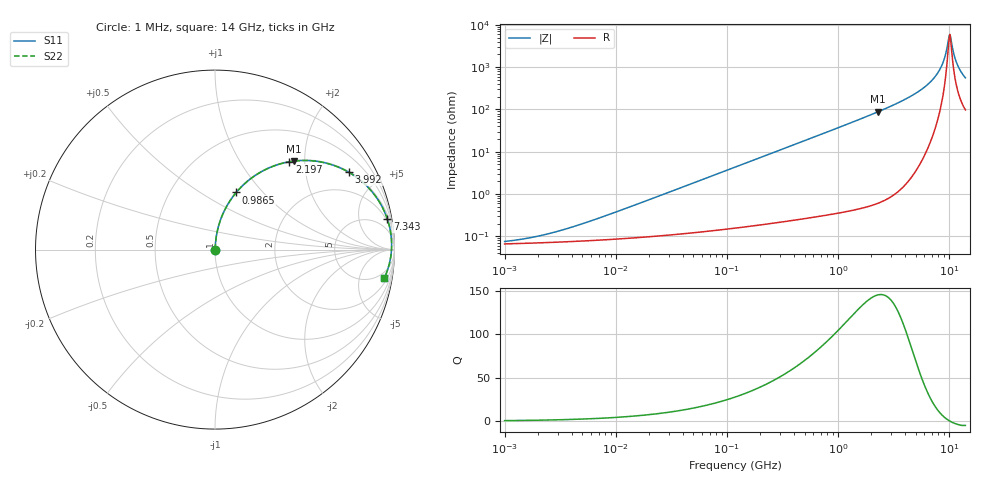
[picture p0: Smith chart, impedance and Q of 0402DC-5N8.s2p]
# MHz  S  MA  R  50
!Freq  MagS11  AngS11  MagS21  AngS21  MagS12  AngS12  MagS22  AngS22
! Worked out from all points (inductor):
!   801 points, 1 MHz to 14 GHz, reference 50 ohm
!   read as one part in series: L = 5.8 nH near 6.684 MHz
!   highest Q = 145 at 2.304 GHz (marker M1), where L = 6.12 nH
!   self-resonance near 10.14 GHz
!   S11 on the Smith chart (normalised r, x): 1 MHz: 1.00, +0.00; 986.5 MHz: 1.01, +0.73; 2.197 GHz: 1.01, +1.68; 3.992 GHz: 1.03, +3.44; 7.343 GHz: 2, +11; 14 GHz: 3, -11
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1  0.0007543 28.8  0.9993 -0.0  0.9993 -0.0  0.0007543 28.8
2.148335  0.001052 48.0  0.9993 -0.0  0.9993 -0.0  0.001052 48.0
4.958368  0.001964 66.7  0.9992 -0.1  0.9992 -0.1  0.001964 66.7
24.29341  0.008902 82.9  0.9989 -0.5  0.9989 -0.5  0.008902 82.9
119.025  0.0433 85.5  0.9975 -2.5  0.9975 -2.5  0.0433 85.5
583.1601  0.208 77.2  0.9754 -12.0  0.9754 -12.0  0.208 77.2
986.5248  0.3401 69.6  0.9371 -19.9  0.9371 -19.9  0.3401 69.6
1480.939  0.4813 60.8  0.8728 -28.8  0.8728 -28.8  0.4813 60.8
2196.734  0.6411 49.7  0.7631 -39.9  0.7631 -39.9  0.6411 49.7
2304.272  0.6607 48.3  0.7461 -41.4  0.7461 -41.4  0.6607 48.3
2857.179  0.7466 41.3  0.66 -48.3  0.66 -48.3  0.7466 41.3
3992.383  0.8613 30.0  0.5 -59.5  0.5 -59.5  0.8613 30.0
5713.537  0.9445 18.0  0.3094 -70.8  0.3094 -70.8  0.9445 18.0
7343.042  0.9755 10.0  0.1734 -76.9  0.1734 -76.9  0.9755 10.0
8680.072  0.984 4.8  0.08399 -76.7  0.08399 -76.7  0.984 4.8
9214.437  0.9847 2.9  0.05297 -71.8  0.05297 -71.8  0.9847 2.9
9781.699  0.9843 1.1  0.02475 -50.0  0.02475 -50.0  0.9843 1.1
10138.68  0.9834 0.0  0.01659 -0.8  0.01659 -0.8  0.9834 0.0
10508.7  0.9821 -1.1  0.02578 45.5  0.02578 45.5  0.9821 -1.1
11155.64  0.979 -2.9  0.05399 65.7  0.05399 65.7  0.979 -2.9
11842.4  0.9746 -4.7  0.08452 70.2  0.08452 70.2  0.9746 -4.7
14000  0.9559 -9.7  0.171 70.3  0.171 70.3  0.9559 -9.7
